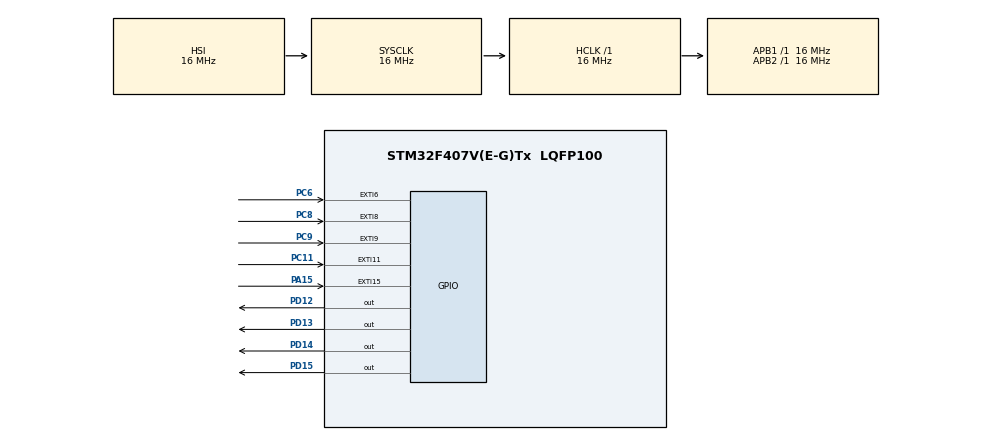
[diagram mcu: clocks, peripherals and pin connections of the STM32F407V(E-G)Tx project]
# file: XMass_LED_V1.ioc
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Mcu.Family=STM32F4
Mcu.Name=STM32F407V(E-G)Tx
Mcu.Package=LQFP100
NVIC.EXTI15_10_IRQn=true\:0\:0\:false\:false\:true\:true\:true\:true
NVIC.EXTI9_5_IRQn=true\:0\:0\:false\:false\:true\:true\:true\:true
NVIC.PriorityGroup=NVIC_PRIORITYGROUP_4
PA15.Signal=GPXTI15
PC11.Signal=GPXTI11
PC6.Signal=GPXTI6
PC8.Signal=GPXTI8
PC9.Signal=GPXTI9
PD12.Signal=GPIO_Output
PD13.Signal=GPIO_Output
PD14.Signal=GPIO_Output
PD15.Signal=GPIO_Output
ProjectManager.HeapSize=0x200
ProjectManager.StackSize=0x400
ProjectManager.TargetToolchain=STM32CubeIDE
RCC.AHBFreq_Value=16000000
RCC.APB1Freq_Value=16000000
RCC.APB2Freq_Value=16000000
RCC.CortexFreq_Value=16000000
RCC.HSE_VALUE=25000000
RCC.HSI_VALUE=16000000
RCC.LSE_VALUE=32768
RCC.SYSCLKFreq_VALUE=16000000
RCC.VCOOutputFreq_Value=192000000
board=custom

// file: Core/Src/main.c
/* USER CODE BEGIN Header */
/**
  ******************************************************************************
  * @file           : main.c
  * @brief          : Main program body
  ******************************************************************************
  * @attention
  *
  * Copyright (c) 2025 STMicroelectronics.
  * All rights reserved.
  *
  * This software is licensed under terms that can be found in the LICENSE file
  * in the root directory of this software component.
  * If no LICENSE file comes with this software, it is provided AS-IS.
  *
  ******************************************************************************
  */
/* USER CODE END Header */
#include "main.h"

/* USER CODE BEGIN PV */
	int LED_Speed_Idx;
	int LED_Pattern_Row;
	int LED_Pattern_Col;
	int LED_State;
	int LED_Power;
	int LED_Powered_Off = FALSE;
/* USER CODE END PV */

void SystemClock_Config(void);
static void MX_GPIO_Init(void);

int main(void)
{

  /* USER CODE BEGIN 1 */
	LED_Speed_Idx = LED_Speed_Idx_Start;
	/* int LED_Speed[] Array defines predefined speed steps in milliseconds starting with 50ms, about 600ms is slowest
	 * NOTE: the array size is defined in main.h as LED_Speed_Idx_MAX 12 for 1.25 factor and 7 for 1.5 factor */
	int LED_Speed[] = {50, 63, 78, 98, 122, 153, 191, 238, 298, 373, 466, 582}; // 1.25 factor
	/* int LED_Speed[] = {50, 75, 113, 169, 253, 380, 570}; // 1.5 factor */

	LED_Pattern_Row = 0;
	LED_Pattern_Col = 0;
	/* LED_Pattern contain in each row a program for particular sequence, where LEDs are as in #define> LED_Orange 1, LED_Red 2, LED_Blue 4, LED_Green 8
	 * 32 is used to mark as end of sequence and filler */
	int LED_Pattern[LED_Pattern_Row_MAX][LED_Pattern_Col_MAX] = {
			{1, 2, 4, 8, 32},
			{3, 6, 12, 9, 32},
			{7, 14, 13, 11, 32},
			{15, 0, 32, 32, 32},
			{11, 13, 14, 7, 32},
			{9, 12, 6, 3, 32},
			{8, 4, 2, 1, 32}
	};

	LED_Power = TRUE;

  /* USER CODE END 1 */

  /* MCU Configuration--------------------------------------------------------*/

  /* Reset of all peripherals, Initializes the Flash interface and the Systick. */
  HAL_Init();

  /* Configure the system clock */
  SystemClock_Config();

  /* Initialize all configured peripherals */
  MX_GPIO_Init();

  /* Infinite loop */
  while (1)
  {

    /* USER CODE BEGIN 3 */

	if (LED_Power == TRUE){
		LED_Powered_Off = FALSE;
		LED_State = LED_Pattern[LED_Pattern_Row][LED_Pattern_Col];

		if (LED_State & LED_Orange) HAL_GPIO_WritePin(GPIOD, LED_Orange_PIN, GPIO_PIN_SET);
		  else HAL_GPIO_WritePin(GPIOD, LED_Orange_PIN, GPIO_PIN_RESET);

		if (LED_State & LED_Red) HAL_GPIO_WritePin(GPIOD, LED_Red_PIN, GPIO_PIN_SET);
		  else HAL_GPIO_WritePin(GPIOD, LED_Red_PIN, GPIO_PIN_RESET);

		if (LED_State & LED_Blue) HAL_GPIO_WritePin(GPIOD, LED_Blue_PIN, GPIO_PIN_SET);
		  else HAL_GPIO_WritePin(GPIOD, LED_Blue_PIN, GPIO_PIN_RESET);

		if (LED_State & LED_Green) HAL_GPIO_WritePin(GPIOD, LED_Green_PIN, GPIO_PIN_SET);
		  else HAL_GPIO_WritePin(GPIOD, LED_Green_PIN, GPIO_PIN_RESET);

		HAL_Delay(LED_Speed[LED_Speed_Idx]);

		LED_Pattern_Col++;
		if (LED_Pattern[LED_Pattern_Row][LED_Pattern_Col] == 32) LED_Pattern_Col = 0;
		}
	else {
		if (LED_Powered_Off == FALSE){
		HAL_GPIO_WritePin(GPIOD, LED_Orange_PIN, GPIO_PIN_RESET);
		HAL_GPIO_WritePin(GPIOD, LED_Red_PIN, GPIO_PIN_RESET);
		HAL_GPIO_WritePin(GPIOD, LED_Blue_PIN, GPIO_PIN_RESET);
		HAL_GPIO_WritePin(GPIOD, LED_Green_PIN, GPIO_PIN_RESET);
		LED_Powered_Off = TRUE;
		}
		HAL_Delay(500);
	}
  }

  /* USER CODE END 3 */
}

void SystemClock_Config(void)
{
  RCC_OscInitTypeDef RCC_OscInitStruct = {0};
  RCC_ClkInitTypeDef RCC_ClkInitStruct = {0};

  /** Configure the main internal regulator output voltage
  */
  __HAL_RCC_PWR_CLK_ENABLE();
  __HAL_PWR_VOLTAGESCALING_CONFIG(PWR_REGULATOR_VOLTAGE_SCALE1);

  /** Initializes the RCC Oscillators according to the specified parameters
  * in the RCC_OscInitTypeDef structure.
  */
  RCC_OscInitStruct.OscillatorType = RCC_OSCILLATORTYPE_HSI;
  RCC_OscInitStruct.HSIState = RCC_HSI_ON;
  RCC_OscInitStruct.HSICalibrationValue = RCC_HSICALIBRATION_DEFAULT;
  RCC_OscInitStruct.PLL.PLLState = RCC_PLL_NONE;
  if (HAL_RCC_OscConfig(&RCC_OscInitStruct) != HAL_OK)
  {
    Error_Handler();
  }

  /** Initializes the CPU, AHB and APB buses clocks
  */
  RCC_ClkInitStruct.ClockType = RCC_CLOCKTYPE_HCLK|RCC_CLOCKTYPE_SYSCLK
                              |RCC_CLOCKTYPE_PCLK1|RCC_CLOCKTYPE_PCLK2;
  RCC_ClkInitStruct.SYSCLKSource = RCC_SYSCLKSOURCE_HSI;
  RCC_ClkInitStruct.AHBCLKDivider = RCC_SYSCLK_DIV1;
  RCC_ClkInitStruct.APB1CLKDivider = RCC_HCLK_DIV1;
  RCC_ClkInitStruct.APB2CLKDivider = RCC_HCLK_DIV1;

  if (HAL_RCC_ClockConfig(&RCC_ClkInitStruct, FLASH_LATENCY_0) != HAL_OK)
  {
    Error_Handler();
  }
}

static void MX_GPIO_Init(void)
{
  GPIO_InitTypeDef GPIO_InitStruct = {0};

  /* GPIO Ports Clock Enable */
  __HAL_RCC_GPIOD_CLK_ENABLE();
  __HAL_RCC_GPIOC_CLK_ENABLE();
  __HAL_RCC_GPIOA_CLK_ENABLE();

  /*Configure GPIO pin Output Level */
  HAL_GPIO_WritePin(GPIOD, GPIO_PIN_12|GPIO_PIN_13|GPIO_PIN_14|GPIO_PIN_15, GPIO_PIN_RESET);

  /*Configure GPIO pins : PD12 PD13 PD14 PD15 */
  GPIO_InitStruct.Pin = GPIO_PIN_12|GPIO_PIN_13|GPIO_PIN_14|GPIO_PIN_15;
  GPIO_InitStruct.Mode = GPIO_MODE_OUTPUT_PP;
  GPIO_InitStruct.Pull = GPIO_NOPULL;
  GPIO_InitStruct.Speed = GPIO_SPEED_FREQ_LOW;
  HAL_GPIO_Init(GPIOD, &GPIO_InitStruct);

  /*Configure GPIO pins : PC6 PC8 PC9 PC11 */
  GPIO_InitStruct.Pin = GPIO_PIN_6|GPIO_PIN_8|GPIO_PIN_9|GPIO_PIN_11;
  GPIO_InitStruct.Mode = GPIO_MODE_IT_RISING;
  GPIO_InitStruct.Pull = GPIO_NOPULL;
  HAL_GPIO_Init(GPIOC, &GPIO_InitStruct);

  /*Configure GPIO pin : PA15 */
  GPIO_InitStruct.Pin = GPIO_PIN_15;
  GPIO_InitStruct.Mode = GPIO_MODE_IT_RISING;
  GPIO_InitStruct.Pull = GPIO_NOPULL;
  HAL_GPIO_Init(GPIOA, &GPIO_InitStruct);

  /* EXTI interrupt init*/
  HAL_NVIC_SetPriority(EXTI9_5_IRQn, 0, 0);
  HAL_NVIC_EnableIRQ(EXTI9_5_IRQn);

  HAL_NVIC_SetPriority(EXTI15_10_IRQn, 0, 0);
  HAL_NVIC_EnableIRQ(EXTI15_10_IRQn);

}

/* USER CODE BEGIN 4 */
void HAL_GPIO_EXTI_Callback(uint16_t GPIO_Pin)
{
	if((GPIO_Pin == LED_Speed_Up_PIN) && (LED_Speed_Idx < LED_Speed_Idx_MAX - 1)) LED_Speed_Idx++;
	if((GPIO_Pin == LED_Speed_Down_PIN) && (LED_Speed_Idx > 0)) LED_Speed_Idx--;

	if((GPIO_Pin == LED_Prg_Next_PIN) && (LED_Pattern_Row < LED_Pattern_Row_MAX - 1)) LED_Pattern_Row++;
	if((GPIO_Pin == LED_Prg_Prev_PIN) && (LED_Pattern_Row > 0)) LED_Pattern_Row--;

	if(GPIO_Pin == LED_OnOff_Toggle_PIN) LED_Power = (LED_Power + 1) % 2;

}
/* USER CODE END 4 */

void Error_Handler(void)
{
  __disable_irq();
  while (1)
  {
  }
}
